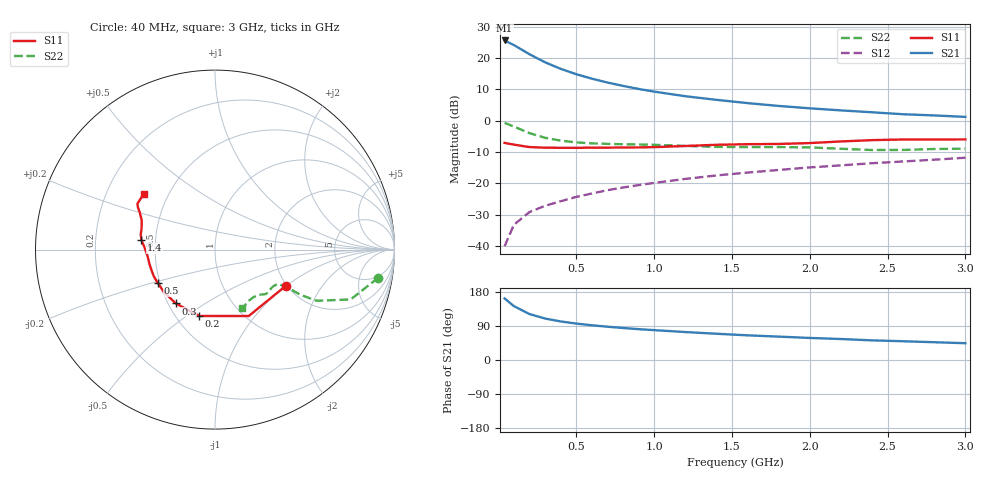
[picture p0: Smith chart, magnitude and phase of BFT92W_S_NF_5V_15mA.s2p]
! Filename:  BFT92WD.S2P  Version:  4.0
! Philips part #: BFT92W  Date: Jun 1994
! Bias condition: Vce=5V, Ic=15mA
#  MHz  S  MA  R  50
! Freq  S11  S21  S12  S22  !GUM [dB]
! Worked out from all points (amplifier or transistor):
!   21 points, 40 MHz to 3 GHz, reference 50 ohm
!   highest |S21| = 25.6 dB at 40 MHz (marker M1)
!   |S21| within 3 dB of that: start of sweep to 152.1 MHz
!   unconditionally stable (mu >= 1): 446.4 MHz to end of sweep
!   at 300 MHz: K = 0.85, MSG = 22.9 dB, |S12| = -27.1 dB
!   at 1 GHz: K = 1.19, MAG = 11.9 dB, |S12| = -19.8 dB
!   at 3 GHz: K = 1.11, MAG = 4.4 dB, |S12| = -11.8 dB
!   lowest NFmin = 3.40 dB at 500 MHz
!   S11 on the Smith chart (normalised r, x): 40 MHz: 1.97, -0.99; 200 MHz: 0.65, -0.56; 300 MHz: 0.55, -0.38; 500 MHz: 0.49, -0.21; 1.4 GHz: 0.42, +0.05; 3 GHz: 0.37, +0.30
40  0.443 -27.2  19.01 162.4  0.01 78.6  0.923 -9.8
100  0.415 -63.1  16.04 142.1  0.022 69.1  0.805 -20.2
200  0.38 -103.3  11.45 121.2  0.035 62.4  0.632 -26.8
300  0.371 -126.1  8.529 109.4  0.044 61.7  0.534 -27.9
400  0.37 -140.4  6.711 101.7  0.052 63.0  0.481 -27.7
500  0.369 -149.5  5.51 96.1  0.061 64.5  0.451 -27.7
600  0.372 -156.6  4.679 91.7  0.069 65.9  0.435 -27.9
700  0.372 -162.1  4.061 87.9  0.078 66.8  0.427 -28.0
800  0.374 -167.1  3.59 84.5  0.086 67.9  0.422 -28.1
900  0.375 -171.4  3.209 81.4  0.094 68.6  0.418 -28.1
1000  0.379 -175.6  2.909 78.8  0.102 69.2  0.413 -28.2
1200  0.395 177.6  2.457 73.8  0.118 70.0  0.396 -29.2
1400  0.413 172.6  2.151 69.3  0.134 70.7  0.383 -32.3
1600  0.422 168.5  1.908 65.1  0.149 71.0  0.379 -36.5
1800  0.426 163.8  1.719 61.7  0.164 71.7  0.38 -39.3
2000  0.44 158.2  1.575 58.2  0.18 72.2  0.375 -41.4
2200  0.467 153.8  1.46 55.4  0.194 72.8  0.357 -44.6
2400  0.49 151.2  1.362 51.8  0.21 73.2  0.341 -50.6
2600  0.502 149.5  1.267 49.5  0.224 73.1  0.342 -57.6
2800  0.502 146.4  1.213 46.9  0.239 73.6  0.354 -62.3
3000  0.503 142.0  1.15 44.3  0.257 73.7  0.358 -65.5
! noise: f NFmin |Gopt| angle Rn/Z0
500  3.4  0.15  109  0.46
1000  4.5  0.21  136  0.57
